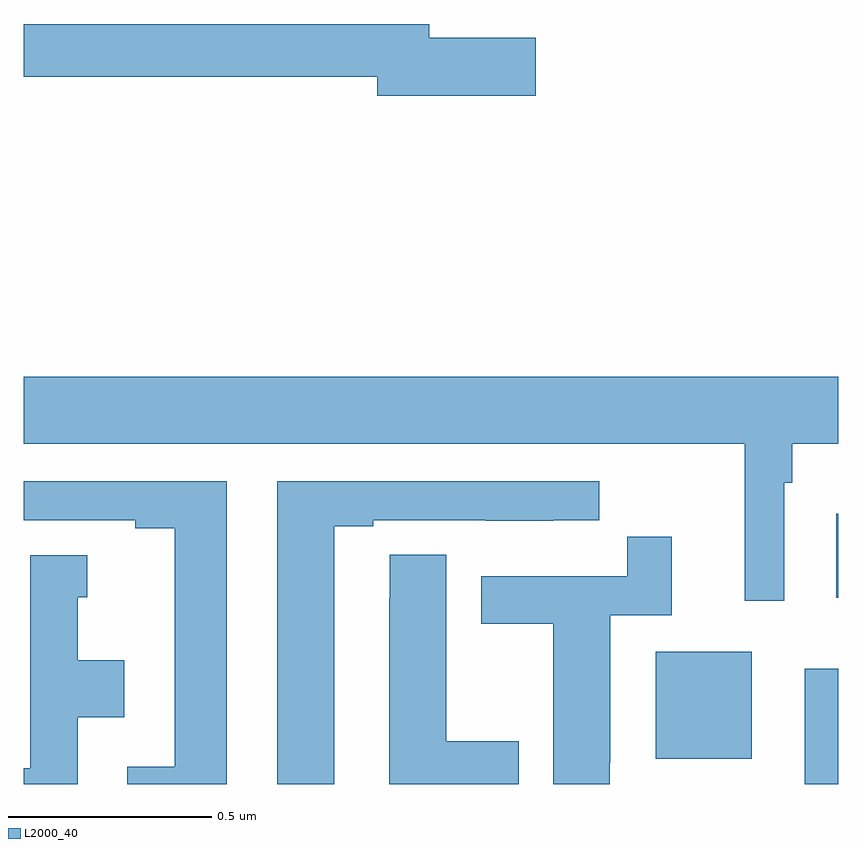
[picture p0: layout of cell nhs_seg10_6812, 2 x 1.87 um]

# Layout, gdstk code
import gdstk
lib = gdstk.Library(unit=1e-6, precision=1e-09)
def R(c, l, rs):  # rectangles x0, y0, x1, y1
    for r in rs: c.add(gdstk.rectangle(r[:2], r[2:], *l))
def P(c, l, *ps):  # polygons
    for p in ps: c.add(gdstk.Polygon(p, *l))
L2000_40 = (2000, 40)

nhs_seg10_6812 = lib.new_cell('nhs_seg10_6812')
R(nhs_seg10_6812, L2000_40, [(197.918,1279.5,198,1279.783), (197.552,1279.562,197.788,1279.825), (197.996,1279.958,198,1280.164)])
P(nhs_seg10_6812, L2000_40, [(197.257,1281.333),(196.996,1281.333),(196.996,1281.367),(196,1281.367),(196,1281.238),(196.868,1281.238),(196.868,1281.191),(197.257,1281.191)],
  [(197.868,1280.24),(197.888,1280.24),(197.888,1280.336),(198,1280.336),(198,1280.5),(196,1280.5),(196,1280.336),(197.771,1280.336),(197.771,1279.95),(197.868,1279.95)],
  [(196.498,1280.244),(196,1280.244),(196,1280.148),(196.274,1280.148),(196.274,1280.128),(196.37,1280.128),(196.37,1279.542),(196.254,1279.542),(196.254,1279.5),(196.498,1279.5)],
  [(196.762,1280.133),(196.858,1280.133),(196.858,1280.148),(197.134,1280.148),(197.134,1280.147),(197.3,1280.147),(197.3,1280.148),(197.413,1280.148),(197.413,1280.244),(196.622,1280.244),(196.622,1279.5),(196.762,1279.5)],
  [(197.439,1279.552),(197.44,1279.552),(197.44,1279.914),(197.591,1279.914),(197.591,1280.107),(197.482,1280.107),(197.482,1280.01),(197.123,1280.01),(197.123,1279.894),(197.3,1279.894),(197.3,1279.5),(197.439,1279.5)],
  [(197.215,1279.605),(197.038,1279.605),(197.038,1280.063),(196.899,1280.063),(196.899,1279.955),(196.898,1279.955),(196.898,1279.5),(197.215,1279.5)],
  [(196.132,1279.664),(196.246,1279.664),(196.246,1279.804),(196.132,1279.804),(196.132,1279.959),(196.156,1279.959),(196.156,1280.062),(196.016,1280.062),(196.016,1279.539),(196,1279.539),(196,1279.5),(196.132,1279.5)])

lib.write_gds('nhs_seg10_6812.gds')
